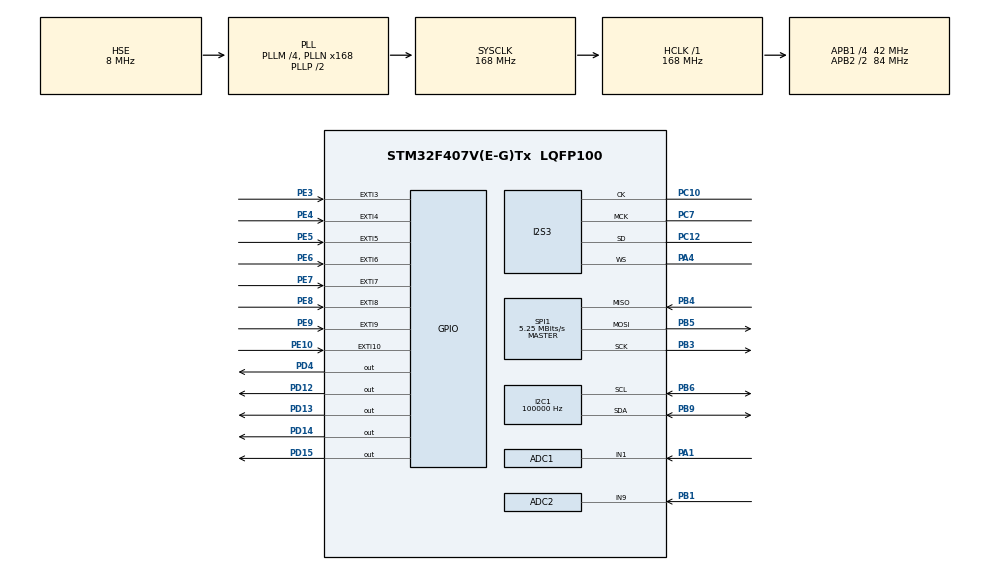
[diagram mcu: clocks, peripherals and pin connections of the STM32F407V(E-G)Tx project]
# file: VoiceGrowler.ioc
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ADC1.Channel-1\#ChannelRegularConversion=ADC_CHANNEL_1
ADC1.ClockPrescaler=ADC_CLOCK_SYNC_PCLK_DIV8
ADC1.ContinuousConvMode=ENABLE
ADC1.DMAContinuousRequests=ENABLE
ADC1.ExternalTrigConv=ADC_SOFTWARE_START
ADC1.InjNumberOfConversion=0
ADC1.NbrOfConversion=1
ADC1.NbrOfConversionFlag=1
ADC1.Rank-1\#ChannelRegularConversion=1
ADC1.SamplingTime-1\#ChannelRegularConversion=ADC_SAMPLETIME_144CYCLES
ADC1.master=1
ADC2.Channel-1\#ChannelRegularConversion=ADC_CHANNEL_9
ADC2.ClockPrescaler=ADC_CLOCK_SYNC_PCLK_DIV8
ADC2.ContinuousConvMode=ENABLE
ADC2.NbrOfConversionFlag=1
ADC2.Rank-1\#ChannelRegularConversion=1
ADC2.SamplingTime-1\#ChannelRegularConversion=ADC_SAMPLETIME_112CYCLES
Dma.ADC1.1.Direction=DMA_PERIPH_TO_MEMORY
Dma.ADC1.1.FIFOMode=DMA_FIFOMODE_ENABLE
Dma.ADC1.1.FIFOThreshold=DMA_FIFO_THRESHOLD_FULL
Dma.ADC1.1.Instance=DMA2_Stream0
Dma.ADC1.1.MemBurst=DMA_MBURST_SINGLE
Dma.ADC1.1.MemDataAlignment=DMA_MDATAALIGN_HALFWORD
Dma.ADC1.1.MemInc=DMA_MINC_ENABLE
Dma.ADC1.1.Mode=DMA_NORMAL
Dma.ADC1.1.PeriphBurst=DMA_PBURST_SINGLE
Dma.ADC1.1.PeriphDataAlignment=DMA_PDATAALIGN_HALFWORD
Dma.ADC1.1.PeriphInc=DMA_PINC_DISABLE
Dma.ADC1.1.Priority=DMA_PRIORITY_LOW
Dma.Request0=SPI3_TX
Dma.Request1=ADC1
Dma.SPI3_TX.0.Direction=DMA_MEMORY_TO_PERIPH
Dma.SPI3_TX.0.FIFOMode=DMA_FIFOMODE_ENABLE
Dma.SPI3_TX.0.FIFOThreshold=DMA_FIFO_THRESHOLD_FULL
Dma.SPI3_TX.0.Instance=DMA1_Stream5
Dma.SPI3_TX.0.MemBurst=DMA_MBURST_SINGLE
Dma.SPI3_TX.0.MemDataAlignment=DMA_MDATAALIGN_HALFWORD
Dma.SPI3_TX.0.MemInc=DMA_MINC_ENABLE
Dma.SPI3_TX.0.Mode=DMA_CIRCULAR
Dma.SPI3_TX.0.PeriphBurst=DMA_PBURST_SINGLE
Dma.SPI3_TX.0.PeriphDataAlignment=DMA_PDATAALIGN_HALFWORD
Dma.SPI3_TX.0.PeriphInc=DMA_PINC_DISABLE
Dma.SPI3_TX.0.Priority=DMA_PRIORITY_LOW
I2C1.ClockSpeed=100000
I2S3.AudioFreq=I2S_AUDIOFREQ_48K
I2S3.AudioFreqCustom=72000
I2S3.DataFormat=I2S_DATAFORMAT_16B
I2S3.ErrorAudioFreq=-2.34 %
I2S3.FullDuplexMode=I2S_FULLDUPLEXMODE_DISABLE
I2S3.Instance=SPI$Index
I2S3.RealAudioFreq=46.875 KHz
I2S3.VirtualMode=I2S_MODE_MASTER
Mcu.Family=STM32F4
Mcu.Name=STM32F407V(E-G)Tx
Mcu.Package=LQFP100
NVIC.ADC_IRQn=true\:0\:0\:false\:false\:true\:true\:true
NVIC.DMA1_Stream5_IRQn=true\:0\:0\:false\:false\:true\:false\:true
NVIC.DMA2_Stream0_IRQn=true\:0\:0\:false\:false\:true\:false\:true
NVIC.EXTI15_10_IRQn=true\:0\:0\:false\:false\:true\:true\:true
NVIC.EXTI3_IRQn=true\:0\:0\:false\:false\:true\:true\:true
NVIC.EXTI4_IRQn=true\:0\:0\:false\:false\:true\:true\:true
NVIC.EXTI9_5_IRQn=true\:0\:0\:false\:false\:true\:true\:true
NVIC.PriorityGroup=NVIC_PRIORITYGROUP_4
NVIC.TIM2_IRQn=true\:0\:0\:false\:false\:true\:true\:true
NVIC.TIM3_IRQn=true\:0\:0\:false\:false\:true\:true\:true
NVIC.TIM6_DAC_IRQn=true\:0\:0\:false\:false\:true\:true\:true
PA1.Signal=ADCx_IN1
PA4.Mode=Half_Duplex_Master
PA4.Signal=I2S3_WS
PB1.Signal=ADCx_IN9
PB3.Mode=Full_Duplex_Master
PB3.Signal=SPI1_SCK
PB4.Mode=Full_Duplex_Master
PB4.Signal=SPI1_MISO
PB5.Mode=Full_Duplex_Master
PB5.Signal=SPI1_MOSI
PB6.Mode=I2C
PB6.Signal=I2C1_SCL
PB9.Mode=I2C
PB9.Signal=I2C1_SDA
PC10.Mode=Half_Duplex_Master
PC10.Signal=I2S3_CK
PC12.Mode=Half_Duplex_Master
PC12.Signal=I2S3_SD
PC7.Mode=Master_Clock_Activated
PC7.Signal=I2S3_MCK
PD12.Signal=GPIO_Output
PD13.Signal=GPIO_Output
PD14.Signal=GPIO_Output
PD15.Signal=GPIO_Output
PD4.Signal=GPIO_Output
PE10.GPIO_ModeDefaultEXTI=GPIO_MODE_IT_FALLING
PE10.GPIO_PuPd=GPIO_PULLUP
PE10.Signal=GPXTI10
PE3.GPIO_ModeDefaultEXTI=GPIO_MODE_IT_FALLING
PE3.GPIO_PuPd=GPIO_PULLUP
PE3.Signal=GPXTI3
PE4.GPIO_ModeDefaultEXTI=GPIO_MODE_IT_FALLING
PE4.GPIO_PuPd=GPIO_PULLUP
PE4.Signal=GPXTI4
PE5.GPIO_ModeDefaultEXTI=GPIO_MODE_IT_FALLING
PE5.GPIO_PuPd=GPIO_PULLUP
PE5.Signal=GPXTI5
PE6.GPIO_ModeDefaultEXTI=GPIO_MODE_IT_FALLING
PE6.GPIO_PuPd=GPIO_PULLUP
PE6.Signal=GPXTI6
PE7.GPIO_ModeDefaultEXTI=GPIO_MODE_IT_FALLING
PE7.GPIO_PuPd=GPIO_PULLUP
PE7.Signal=GPXTI7
PE8.GPIO_ModeDefaultEXTI=GPIO_MODE_IT_FALLING
PE8.GPIO_PuPd=GPIO_PULLUP
PE8.Signal=GPXTI8
PE9.GPIO_ModeDefaultEXTI=GPIO_MODE_IT_FALLING
PE9.GPIO_PuPd=GPIO_PULLUP
PE9.Signal=GPXTI9
PH0-OSC_IN.Mode=HSE-External-Oscillator
PH0-OSC_IN.Signal=RCC_OSC_IN
PH1-OSC_OUT.Mode=HSE-External-Oscillator
PH1-OSC_OUT.Signal=RCC_OSC_OUT
ProjectManager.HeapSize=0x200
ProjectManager.StackSize=0x400
ProjectManager.TargetToolchain=SW4STM32
RCC.48MHZClocksFreq_Value=84000000
RCC.AHBFreq_Value=168000000
RCC.APB1CLKDivider=RCC_HCLK_DIV4
RCC.APB1Freq_Value=42000000
RCC.APB1TimFreq_Value=84000000
RCC.APB2CLKDivider=RCC_HCLK_DIV2
RCC.APB2Freq_Value=84000000
RCC.APB2TimFreq_Value=168000000
RCC.CortexFreq_Value=168000000
RCC.HCLKFreq_Value=168000000
RCC.HSE_VALUE=8000000
RCC.HSI_VALUE=16000000
RCC.LSE_VALUE=32768
RCC.PLLM=4
RCC.PLLN=168
RCC.PLLSourceVirtual=RCC_PLLSOURCE_HSE
RCC.SYSCLKFreq_VALUE=168000000
RCC.SYSCLKSource=RCC_SYSCLKSOURCE_PLLCLK
RCC.VCOOutputFreq_Value=336000000
SH.ADCx_IN1.0=ADC1_IN1,IN1
SH.ADCx_IN9.0=ADC2_IN9,IN9
SPI1.BaudRatePrescaler=SPI_BAUDRATEPRESCALER_16
SPI1.CalculateBaudRate=5.25 MBits/s
SPI1.Direction=SPI_DIRECTION_2LINES
SPI1.Mode=SPI_MODE_MASTER
SPI1.VirtualType=VM_MASTER
TIM2.Period=59999
TIM2.Prescaler=139
TIM2.TIM_MasterOutputTrigger=TIM_TRGO_UPDATE
TIM3.Period=8399
TIM3.Prescaler=499
TIM6.Period=5109
TIM6.Prescaler=0
VP_TIM2_VS_ClockSourceINT.Mode=Internal
VP_TIM3_VS_ClockSourceINT.Mode=Internal
VP_TIM6_VS_ClockSourceINT.Mode=Enable_Timer
board=custom

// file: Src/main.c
/* USER CODE BEGIN Header */
/**
  ******************************************************************************
  * @file           : main.c
  * @brief          : Main program body
  ******************************************************************************
  ** This notice applies to any and all portions of this file
  * that are not between comment pairs USER CODE BEGIN and
  * USER CODE END. Other portions of this file, whether
  * inserted by the user or by software development tools
  * are owned by their respective copyright owners.
  *
  * COPYRIGHT(c) 2019 STMicroelectronics
  *
  * Redistribution and use in source and binary forms, with or without modification,
  * are permitted provided that the following conditions are met:
  *   1. Redistributions of source code must retain the above copyright notice,
  *      this list of conditions and the following disclaimer.
  *   2. Redistributions in binary form must reproduce the above copyright notice,
  *      this list of conditions and the following disclaimer in the documentation
  *      and/or other materials provided with the distribution.
  *   3. Neither the name of STMicroelectronics nor the names of its contributors
  *      may be used to endorse or promote products derived from this software
  *      without specific prior written permission.
  *
  * THIS SOFTWARE IS PROVIDED BY THE COPYRIGHT HOLDERS AND CONTRIBUTORS "AS IS"
  * AND ANY EXPRESS OR IMPLIED WARRANTIES, INCLUDING, BUT NOT LIMITED TO, THE
  * IMPLIED WARRANTIES OF MERCHANTABILITY AND FITNESS FOR A PARTICULAR PURPOSE ARE
  * DISCLAIMED. IN NO EVENT SHALL THE COPYRIGHT HOLDER OR CONTRIBUTORS BE LIABLE
  * FOR ANY DIRECT, INDIRECT, INCIDENTAL, SPECIAL, EXEMPLARY, OR CONSEQUENTIAL
  * DAMAGES (INCLUDING, BUT NOT LIMITED TO, PROCUREMENT OF SUBSTITUTE GOODS OR
  * SERVICES; LOSS OF USE, DATA, OR PROFITS; OR BUSINESS INTERRUPTION) HOWEVER
  * CAUSED AND ON ANY THEORY OF LIABILITY, WHETHER IN CONTRACT, STRICT LIABILITY,
  * OR TORT (INCLUDING NEGLIGENCE OR OTHERWISE) ARISING IN ANY WAY OUT OF THE USE
  * OF THIS SOFTWARE, EVEN IF ADVISED OF THE POSSIBILITY OF SUCH DAMAGE.
  *
  ******************************************************************************
  */
/* USER CODE END Header */

#include "main.h"

/* USER CODE BEGIN Includes */
#include "MY_CS43L22.h"
#include <math.h>
#include <string.h>
#include "ff.h"
#include "stm32f4xx.h"
#include "fft.h"
/* USER CODE END Includes */

/* USER CODE BEGIN PD */
#define SAMPLE 1
#define SDSIZE 1
#define FFTBUFF 1000
/* USER CODE END PD */

ADC_HandleTypeDef hadc1;
ADC_HandleTypeDef hadc2;
DMA_HandleTypeDef hdma_adc1;

I2C_HandleTypeDef hi2c1;

I2S_HandleTypeDef hi2s3;
DMA_HandleTypeDef hdma_spi3_tx;

SPI_HandleTypeDef hspi1;

TIM_HandleTypeDef htim2;
TIM_HandleTypeDef htim3;
TIM_HandleTypeDef htim6;

/* USER CODE BEGIN PV */
int transmit_adc = 1;
int transmit_i2s = 1;
int buffer = 1;
uint32_t data1[SAMPLE];
uint32_t EchoData[15000];
uint32_t ChildvoiceData[3000] = {0};
double ChildvoiceDataFFTIn[3000] = {0};
int ChildvoiceTmp = 0;
uint16_t Speedy[1000] = {0};
uint16_t data_adc[1];
int EchoCounter = 0;
int ChildVoiceCounter = 0;
int Effect_Echo = 0;
int Effect_Overdrive = 0;
int Effect_Childvoice = 0;
int Effect_CBA = 0;
double FFT_Val = 0;
double in[2000] = {0};
double volume;
double old_volume;
uint16_t dataSAMPLE = 0;
//End Defined for CS43L22 ----------------------------------------
//SD CARD VARS
uint8_t SDbuffer[SDSIZE];//bufor odczytu i zapisu
uint16_t tempbuff[SDSIZE];
static FATFS FatFs;//uchwyt do urz¹dzenia FatFs (dysku, karty SD...)
FRESULT fresult;//do przechowywania wyniku operacji na bibliotece FatFs
FIL file;//uchwyt do otwartego pliku
WORD bytes_read;//liczba odczytanych byte
volatile int startstop=0;
/* USER CODE END PV */

void SystemClock_Config(void);
static void MX_GPIO_Init(void);
static void MX_DMA_Init(void);
static void MX_I2C1_Init(void);
static void MX_I2S3_Init(void);
static void MX_TIM2_Init(void);
static void MX_TIM3_Init(void);
static void MX_ADC1_Init(void);
static void MX_SPI1_Init(void);
static void MX_TIM6_Init(void);
static void MX_ADC2_Init(void);
/* USER CODE BEGIN PFP */
void resetAudio(){
    HAL_GPIO_WritePin(GPIOD, GPIO_PIN_12, 0);
    HAL_GPIO_WritePin(GPIOD, GPIO_PIN_13, 0);
    HAL_GPIO_WritePin(GPIOD, GPIO_PIN_14, 0);
    HAL_GPIO_WritePin(GPIOD, GPIO_PIN_15, 0);

    Effect_Echo = 0;
    Effect_Overdrive = 0;
    Effect_Childvoice = 0;
    Effect_CBA = 0;
    HAL_I2S_DeInit(&hi2s3);
    hi2s3.Init.AudioFreq = I2S_AUDIOFREQ_48K;
    HAL_I2S_Init(&hi2s3);
}

void EchoRelay(uint16_t *dataADC){
    if (EchoCounter < 5000) {
        EchoData[EchoCounter] = dataADC[0];
    } else if (EchoCounter < 10000) {
        dataADC[0] += EchoData[EchoCounter - 5000] / 2;
        EchoData[EchoCounter] = dataADC[0];
    } else if (EchoCounter <= 14999) {
        dataADC[0] += EchoData[EchoCounter - 5000] / 2;
        EchoData[EchoCounter-10000] = dataADC[0];
    }

    dataADC[0] = dataADC[0]/2;

    if (EchoCounter >= 14999){
        EchoCounter = 5000;
    } else {
        EchoCounter++;
    }
}

void Overdrive(uint16_t *dataADC){
	if( dataADC[0]>2250) dataADC[0]=2250;
	else if( dataADC[0]<500)  dataADC[0]=500;
}

void Childvoice(uint16_t *dataADC){
    ChildvoiceDataFFTIn[ChildVoiceCounter] = dataADC[0];

    Fft_transform(ChildvoiceDataFFTIn, 0, 3000);

    FFT_Val = ChildvoiceDataFFTIn[ChildVoiceCounter];
    for(int a = 2000; a < 2999 ; a++){
            ChildvoiceDataFFTIn[a] *= 0;
    }

    Fft_inverseTransform(0,ChildvoiceDataFFTIn, 3000);

    dataADC[0] = ChildvoiceDataFFTIn[ChildVoiceCounter];

    ChildVoiceCounter++;
    if(ChildVoiceCounter >= 3000) ChildVoiceCounter = 0;
}

// FFT Future Effect Function
void CriminalVoice(uint16_t *dataADC){
//    if(ChildvoiceTmp == 0) ChildvoiceData[0] = dataADC[0];
//
//    ChildvoiceTmp++;
//    if(ChildvoiceTmp >= 8) {
//        ChildvoiceTmp = 0;
//    }
//
//    dataADC[0] = ChildvoiceData[0];
}

void HAL_I2S_TxCpltCallback(I2S_HandleTypeDef *hi2s)
{
    transmit_i2s = 1; //useless
}

void HAL_ADC_ConvCpltCallback(ADC_HandleTypeDef* hadc) {

    HAL_ADC_Stop_DMA(&hadc1);
    data_adc[0] = data1[0];
    if(Effect_Echo == 1) EchoRelay(data_adc);
    if(Effect_Overdrive == 1) Overdrive(data_adc);

    dataSAMPLE = data_adc[0];
    //data_adc[0] *=3; // Volume Regulation for Echo and Overdrive

    if(Effect_Childvoice == 1 || Effect_CBA == 1){
        HAL_I2S_Transmit_DMA(&hi2s3, Speedy, 1000);
        HAL_ADC_Start_DMA(&hadc1, Speedy, 1000);
    } else {
        HAL_I2S_Transmit_DMA(&hi2s3, data_adc, SAMPLE);
        HAL_ADC_Start_DMA(&hadc1, data1, SAMPLE);
    }
}

void HAL_TIM_PeriodElapsedCallback(TIM_HandleTypeDef *htim)
{
    if (htim->Instance == TIM2)
    {
        if (HAL_ADC_PollForConversion(&hadc2, 10) == HAL_OK) {
            volume = HAL_ADC_GetValue(&hadc2);
            volume = volume/4095;
            if(volume < 0.009) volume = 0;
            CS43_SetVolume(90*volume);
        }
        HAL_ADC_Start(&hadc2);
    }
    if (htim->Instance == TIM3)
    {
        if(HAL_GPIO_ReadPin(GPIOE,GPIO_PIN_3) == GPIO_PIN_RESET) {
            HAL_GPIO_TogglePin(GPIOD, GPIO_PIN_12);
            if(Effect_Echo == 0) {
                resetAudio();
                Effect_Echo = 1;
            }
            else Effect_Echo = 0;
        }
        if(HAL_GPIO_ReadPin(GPIOE,GPIO_PIN_4) == GPIO_PIN_RESET) {
            HAL_GPIO_TogglePin(GPIOD, GPIO_PIN_13);
            if(Effect_Overdrive == 0) {
                resetAudio();
                Effect_Overdrive = 1;
            }
            else Effect_Overdrive = 0;
        }
        if(HAL_GPIO_ReadPin(GPIOE,GPIO_PIN_5) == GPIO_PIN_RESET) {
            HAL_GPIO_TogglePin(GPIOD, GPIO_PIN_14);
            if(Effect_Childvoice == 0) {
                resetAudio();
                Effect_Childvoice = 1;
            }
            else Effect_Childvoice = 0;

            HAL_ADC_Stop_DMA(&hadc1);
            HAL_I2S_DMAStop(&hi2s3);
            HAL_ADC_Start_DMA(&hadc1, Speedy, 1000);
        }
        if(HAL_GPIO_ReadPin(GPIOE,GPIO_PIN_6) == GPIO_PIN_RESET) {
            HAL_GPIO_TogglePin(GPIOD, GPIO_PIN_15);

            if(Effect_CBA == 0) {
                resetAudio();
                Effect_CBA = 1;
                HAL_I2S_DeInit(&hi2s3);
                hi2s3.Init.AudioFreq = I2S_AUDIOFREQ_22K;
                HAL_I2S_Init(&hi2s3);
            }
            else {
                Effect_CBA = 0;
                HAL_I2S_DeInit(&hi2s3);
                hi2s3.Init.AudioFreq = I2S_AUDIOFREQ_48K;
                HAL_I2S_Init(&hi2s3);
            }
            HAL_ADC_Stop_DMA(&hadc1);
            HAL_I2S_DMAStop(&hi2s3);
            HAL_ADC_Start_DMA(&hadc1, Speedy, 1000);
        }
        if(HAL_GPIO_ReadPin(GPIOE,GPIO_PIN_7) == GPIO_PIN_RESET) {
        	if(startstop==0){
        		HAL_ADC_Stop_DMA(&hadc1);
        		HAL_I2S_DMAStop(&hi2s3);
        		HAL_I2S_DeInit(&hi2s3);
        		hi2s3.Init.AudioFreq = I2S_AUDIOFREQ_16K;
        		HAL_StatusTypeDef result = HAL_I2S_Init(&hi2s3);
        		fresult = f_open(&file, "isengard.wav", 1);
        		f_lseek(&file, 44);
        		HAL_TIM_Base_Start_IT(&htim6);
        	}
        	else {
        		HAL_TIM_Base_Stop_IT(&htim6);
        		HAL_I2S_DeInit(&hi2s3);
        		hi2s3.Init.AudioFreq = I2S_AUDIOFREQ_48K;
        		HAL_StatusTypeDef result = HAL_I2S_Init(&hi2s3);
        		fresult = f_close(&file);
        		HAL_ADC_Start_IT(&hadc1);
        		HAL_ADC_Start_DMA(&hadc1, data1, SAMPLE);
        		startstop=0;
        	}

        }
        if(HAL_GPIO_ReadPin(GPIOE,GPIO_PIN_8) == GPIO_PIN_RESET) {
        	if(startstop==0){
        		HAL_ADC_Stop_DMA(&hadc1);
        		HAL_I2S_DMAStop(&hi2s3);
        		HAL_I2S_DeInit(&hi2s3);
        		hi2s3.Init.AudioFreq = I2S_AUDIOFREQ_16K;
        		HAL_StatusTypeDef result = HAL_I2S_Init(&hi2s3);
        		fresult = f_open(&file, "laserap.wav", 1);
        		f_lseek(&file, 44);
        		HAL_TIM_Base_Start_IT(&htim6);
        	}
        	else {
        		HAL_TIM_Base_Stop_IT(&htim6);
        		HAL_I2S_DeInit(&hi2s3);
        		hi2s3.Init.AudioFreq = I2S_AUDIOFREQ_48K;
        		HAL_StatusTypeDef result = HAL_I2S_Init(&hi2s3);
        		fresult = f_close(&file);
        		HAL_ADC_Start_IT(&hadc1);
        		HAL_ADC_Start_DMA(&hadc1, data1, SAMPLE);
        		startstop=0;
        	}
        }
        if(HAL_GPIO_ReadPin(GPIOE,GPIO_PIN_9) == GPIO_PIN_RESET) {
        	if(startstop==0){
        		HAL_ADC_Stop_DMA(&hadc1);
        		HAL_I2S_DMAStop(&hi2s3);
        		HAL_I2S_DeInit(&hi2s3);
        		hi2s3.Init.AudioFreq = I2S_AUDIOFREQ_16K;
        		HAL_StatusTypeDef result = HAL_I2S_Init(&hi2s3);
        		fresult = f_open(&file, "snoop.wav", 1);
        		f_lseek(&file, 44);
        		HAL_TIM_Base_Start_IT(&htim6);
        	}
        	else {
        		HAL_TIM_Base_Stop_IT(&htim6);
        		HAL_I2S_DeInit(&hi2s3);
        		hi2s3.Init.AudioFreq = I2S_AUDIOFREQ_48K;
        		HAL_StatusTypeDef result = HAL_I2S_Init(&hi2s3);
        		fresult = f_close(&file);
        		HAL_ADC_Start_IT(&hadc1);
        		HAL_ADC_Start_DMA(&hadc1, data1, SAMPLE);
        		startstop=0;
        	}
        }
        if(HAL_GPIO_ReadPin(GPIOE,GPIO_PIN_10) == GPIO_PIN_RESET) {
        	if(startstop==0){
        		HAL_ADC_Stop_DMA(&hadc1);
        		HAL_I2S_DMAStop(&hi2s3);
        		HAL_I2S_DeInit(&hi2s3);
        		hi2s3.Init.AudioFreq = I2S_AUDIOFREQ_16K;
        		HAL_StatusTypeDef result = HAL_I2S_Init(&hi2s3);
        		fresult = f_open(&file, "star.wav", 1);
        		f_lseek(&file, 44);
        		HAL_TIM_Base_Start_IT(&htim6);
        	}
        	else {
        		HAL_TIM_Base_Stop_IT(&htim6);
        		HAL_I2S_DeInit(&hi2s3);
        		hi2s3.Init.AudioFreq = I2S_AUDIOFREQ_48K;
        		HAL_StatusTypeDef result = HAL_I2S_Init(&hi2s3);
        		fresult = f_close(&file);
        		HAL_ADC_Start_IT(&hadc1);
        		HAL_ADC_Start_DMA(&hadc1, data1, SAMPLE);
        		startstop=0;
        	}
        }
        HAL_TIM_Base_Stop_IT(&htim3);
    }
    if (htim->Instance == TIM6){
    	startstop=1;
    	fresult = f_read(&file, SDbuffer, SDSIZE, &bytes_read);
    	tempbuff[0]=SDbuffer[0]*128;
    	HAL_I2S_Transmit_DMA(&hi2s3, (uint16_t *)tempbuff, SDSIZE);
    	if(f_eof(&file)){
    		HAL_TIM_Base_Stop_IT(&htim6);
    		HAL_I2S_DeInit(&hi2s3);
    		hi2s3.Init.AudioFreq = I2S_AUDIOFREQ_48K;
    		HAL_StatusTypeDef result = HAL_I2S_Init(&hi2s3);
    		fresult = f_close(&file);
    		HAL_ADC_Start_IT(&hadc1);
    		HAL_ADC_Start_DMA(&hadc1, data1, SAMPLE);
    		startstop=0;
    	}
    }
}

void HAL_GPIO_EXTI_Callback(uint16_t GPIO_PIN)
{
    HAL_TIM_Base_Start_IT(&htim3);
}
/* USER CODE END PFP */

int main(void)
{

  /* MCU Configuration--------------------------------------------------------*/

  /* Reset of all peripherals, Initializes the Flash interface and the Systick. */
  HAL_Init();

  /* Configure the system clock */
  SystemClock_Config();

  /* Initialize all configured peripherals */
  MX_GPIO_Init();
  MX_DMA_Init();
  MX_I2C1_Init();
  MX_I2S3_Init();
  MX_TIM2_Init();
  MX_TIM3_Init();
  MX_ADC1_Init();
  MX_SPI1_Init();
  MX_TIM6_Init();
  MX_ADC2_Init();
  /* USER CODE BEGIN 2 */
  CS43_Init(hi2c1, MODE_I2S); //MODE_ANALOG
  CS43_SetVolume(80); //0 - 100,, 40 - MAX bo inaczej zjada za duzo pradu
  CS43_Enable_RightLeft(CS43_RIGHT_LEFT);
  CS43_Start();
  HAL_ADC_Start_IT(&hadc1);
  HAL_ADC_Start(&hadc2);
  HAL_TIM_Base_Start_IT(&htim2);
  htim2.Instance->ARR = 139 ;
  htim2.Instance->PSC = 59999;
  HAL_ADC_Start_IT(&hadc1);

  //ADC to DMA
  HAL_ADC_Start_DMA(&hadc1, data1, SAMPLE);
  //SD Init
  fresult = f_mount(&FatFs, "",1);

  /* USER CODE END 2 */

  /* Infinite loop */
  while (1)
  {

  }
}

void SystemClock_Config(void)
{
  RCC_OscInitTypeDef RCC_OscInitStruct = {0};
  RCC_ClkInitTypeDef RCC_ClkInitStruct = {0};
  RCC_PeriphCLKInitTypeDef PeriphClkInitStruct = {0};

  /** Configure the main internal regulator output voltage
  */
  __HAL_RCC_PWR_CLK_ENABLE();
  __HAL_PWR_VOLTAGESCALING_CONFIG(PWR_REGULATOR_VOLTAGE_SCALE1);
  /** Initializes the CPU, AHB and APB busses clocks
  */
  RCC_OscInitStruct.OscillatorType = RCC_OSCILLATORTYPE_HSE;
  RCC_OscInitStruct.HSEState = RCC_HSE_ON;
  RCC_OscInitStruct.PLL.PLLState = RCC_PLL_ON;
  RCC_OscInitStruct.PLL.PLLSource = RCC_PLLSOURCE_HSE;
  RCC_OscInitStruct.PLL.PLLM = 4;
  RCC_OscInitStruct.PLL.PLLN = 168;
  RCC_OscInitStruct.PLL.PLLP = RCC_PLLP_DIV2;
  RCC_OscInitStruct.PLL.PLLQ = 4;
  if (HAL_RCC_OscConfig(&RCC_OscInitStruct) != HAL_OK)
  {
    Error_Handler();
  }
  /** Initializes the CPU, AHB and APB busses clocks
  */
  RCC_ClkInitStruct.ClockType = RCC_CLOCKTYPE_HCLK|RCC_CLOCKTYPE_SYSCLK
                              |RCC_CLOCKTYPE_PCLK1|RCC_CLOCKTYPE_PCLK2;
  RCC_ClkInitStruct.SYSCLKSource = RCC_SYSCLKSOURCE_PLLCLK;
  RCC_ClkInitStruct.AHBCLKDivider = RCC_SYSCLK_DIV1;
  RCC_ClkInitStruct.APB1CLKDivider = RCC_HCLK_DIV4;
  RCC_ClkInitStruct.APB2CLKDivider = RCC_HCLK_DIV2;

  if (HAL_RCC_ClockConfig(&RCC_ClkInitStruct, FLASH_LATENCY_5) != HAL_OK)
  {
    Error_Handler();
  }
  PeriphClkInitStruct.PeriphClockSelection = RCC_PERIPHCLK_I2S;
  PeriphClkInitStruct.PLLI2S.PLLI2SN = 192;
  PeriphClkInitStruct.PLLI2S.PLLI2SR = 2;
  if (HAL_RCCEx_PeriphCLKConfig(&PeriphClkInitStruct) != HAL_OK)
  {
    Error_Handler();
  }
}

static void MX_ADC1_Init(void)
{

  ADC_ChannelConfTypeDef sConfig = {0};

  /** Configure the global features of the ADC (Clock, Resolution, Data Alignment and number of conversion)
  */
  hadc1.Instance = ADC1;
  hadc1.Init.ClockPrescaler = ADC_CLOCK_SYNC_PCLK_DIV8;
  hadc1.Init.Resolution = ADC_RESOLUTION_12B;
  hadc1.Init.ScanConvMode = DISABLE;
  hadc1.Init.ContinuousConvMode = ENABLE;
  hadc1.Init.DiscontinuousConvMode = DISABLE;
  hadc1.Init.ExternalTrigConvEdge = ADC_EXTERNALTRIGCONVEDGE_NONE;
  hadc1.Init.ExternalTrigConv = ADC_SOFTWARE_START;
  hadc1.Init.DataAlign = ADC_DATAALIGN_RIGHT;
  hadc1.Init.NbrOfConversion = 1;
  hadc1.Init.DMAContinuousRequests = ENABLE;
  hadc1.Init.EOCSelection = ADC_EOC_SINGLE_CONV;
  if (HAL_ADC_Init(&hadc1) != HAL_OK)
  {
    Error_Handler();
  }
  /** Configure for the selected ADC regular channel its corresponding rank in the sequencer and its sample time.
  */
  sConfig.Channel = ADC_CHANNEL_1;
  sConfig.Rank = 1;
  sConfig.SamplingTime = ADC_SAMPLETIME_144CYCLES;
  if (HAL_ADC_ConfigChannel(&hadc1, &sConfig) != HAL_OK)
  {
    Error_Handler();
  }

}

static void MX_ADC2_Init(void)
{

  ADC_ChannelConfTypeDef sConfig = {0};

  /** Configure the global features of the ADC (Clock, Resolution, Data Alignment and number of conversion)
  */
  hadc2.Instance = ADC2;
  hadc2.Init.ClockPrescaler = ADC_CLOCK_SYNC_PCLK_DIV8;
  hadc2.Init.Resolution = ADC_RESOLUTION_12B;
  hadc2.Init.ScanConvMode = DISABLE;
  hadc2.Init.ContinuousConvMode = ENABLE;
  hadc2.Init.DiscontinuousConvMode = DISABLE;
  hadc2.Init.ExternalTrigConvEdge = ADC_EXTERNALTRIGCONVEDGE_NONE;
  hadc2.Init.ExternalTrigConv = ADC_SOFTWARE_START;
  hadc2.Init.DataAlign = ADC_DATAALIGN_RIGHT;
  hadc2.Init.NbrOfConversion = 1;
  hadc2.Init.DMAContinuousRequests = DISABLE;
  hadc2.Init.EOCSelection = ADC_EOC_SINGLE_CONV;
  if (HAL_ADC_Init(&hadc2) != HAL_OK)
  {
    Error_Handler();
  }
  /** Configure for the selected ADC regular channel its corresponding rank in the sequencer and its sample time.
  */
  sConfig.Channel = ADC_CHANNEL_9;
  sConfig.Rank = 1;
  sConfig.SamplingTime = ADC_SAMPLETIME_112CYCLES;
  if (HAL_ADC_ConfigChannel(&hadc2, &sConfig) != HAL_OK)
  {
    Error_Handler();
  }

}

static void MX_I2C1_Init(void)
{

  hi2c1.Instance = I2C1;
  hi2c1.Init.ClockSpeed = 100000;
  hi2c1.Init.DutyCycle = I2C_DUTYCYCLE_2;
  hi2c1.Init.OwnAddress1 = 0;
  hi2c1.Init.AddressingMode = I2C_ADDRESSINGMODE_7BIT;
  hi2c1.Init.DualAddressMode = I2C_DUALADDRESS_DISABLE;
  hi2c1.Init.OwnAddress2 = 0;
  hi2c1.Init.GeneralCallMode = I2C_GENERALCALL_DISABLE;
  hi2c1.Init.NoStretchMode = I2C_NOSTRETCH_DISABLE;
  if (HAL_I2C_Init(&hi2c1) != HAL_OK)
  {
    Error_Handler();
  }

}

static void MX_I2S3_Init(void)
{

  hi2s3.Instance = SPI3;
  hi2s3.Init.Mode = I2S_MODE_MASTER_TX;
  hi2s3.Init.Standard = I2S_STANDARD_PHILIPS;
  hi2s3.Init.DataFormat = I2S_DATAFORMAT_16B;
  hi2s3.Init.MCLKOutput = I2S_MCLKOUTPUT_ENABLE;
  hi2s3.Init.AudioFreq = I2S_AUDIOFREQ_48K;
  hi2s3.Init.CPOL = I2S_CPOL_LOW;
  hi2s3.Init.ClockSource = I2S_CLOCK_PLL;
  hi2s3.Init.FullDuplexMode = I2S_FULLDUPLEXMODE_DISABLE;
  if (HAL_I2S_Init(&hi2s3) != HAL_OK)
  {
    Error_Handler();
  }

}

static void MX_SPI1_Init(void)
{

  /* SPI1 parameter configuration*/
  hspi1.Instance = SPI1;
  hspi1.Init.Mode = SPI_MODE_MASTER;
  hspi1.Init.Direction = SPI_DIRECTION_2LINES;
  hspi1.Init.DataSize = SPI_DATASIZE_8BIT;
  hspi1.Init.CLKPolarity = SPI_POLARITY_LOW;
  hspi1.Init.CLKPhase = SPI_PHASE_1EDGE;
  hspi1.Init.NSS = SPI_NSS_SOFT;
  hspi1.Init.BaudRatePrescaler = SPI_BAUDRATEPRESCALER_16;
  hspi1.Init.FirstBit = SPI_FIRSTBIT_MSB;
  hspi1.Init.TIMode = SPI_TIMODE_DISABLE;
  hspi1.Init.CRCCalculation = SPI_CRCCALCULATION_DISABLE;
  hspi1.Init.CRCPolynomial = 10;
  if (HAL_SPI_Init(&hspi1) != HAL_OK)
  {
    Error_Handler();
  }

}

static void MX_TIM2_Init(void)
{

  TIM_ClockConfigTypeDef sClockSourceConfig = {0};
  TIM_MasterConfigTypeDef sMasterConfig = {0};

  htim2.Instance = TIM2;
  htim2.Init.Prescaler = 139;
  htim2.Init.CounterMode = TIM_COUNTERMODE_UP;
  htim2.Init.Period = 59999;
  htim2.Init.ClockDivision = TIM_CLOCKDIVISION_DIV1;
  htim2.Init.AutoReloadPreload = TIM_AUTORELOAD_PRELOAD_DISABLE;
  if (HAL_TIM_Base_Init(&htim2) != HAL_OK)
  {
    Error_Handler();
  }
  sClockSourceConfig.ClockSource = TIM_CLOCKSOURCE_INTERNAL;
  if (HAL_TIM_ConfigClockSource(&htim2, &sClockSourceConfig) != HAL_OK)
  {
    Error_Handler();
  }
  sMasterConfig.MasterOutputTrigger = TIM_TRGO_UPDATE;
  sMasterConfig.MasterSlaveMode = TIM_MASTERSLAVEMODE_DISABLE;
  if (HAL_TIMEx_MasterConfigSynchronization(&htim2, &sMasterConfig) != HAL_OK)
  {
    Error_Handler();
  }

}

static void MX_TIM3_Init(void)
{

  TIM_ClockConfigTypeDef sClockSourceConfig = {0};
  TIM_MasterConfigTypeDef sMasterConfig = {0};

  htim3.Instance = TIM3;
  htim3.Init.Prescaler = 499;
  htim3.Init.CounterMode = TIM_COUNTERMODE_UP;
  htim3.Init.Period = 8399;
  htim3.Init.ClockDivision = TIM_CLOCKDIVISION_DIV1;
  htim3.Init.AutoReloadPreload = TIM_AUTORELOAD_PRELOAD_DISABLE;
  if (HAL_TIM_Base_Init(&htim3) != HAL_OK)
  {
    Error_Handler();
  }
  sClockSourceConfig.ClockSource = TIM_CLOCKSOURCE_INTERNAL;
  if (HAL_TIM_ConfigClockSource(&htim3, &sClockSourceConfig) != HAL_OK)
  {
    Error_Handler();
  }
  sMasterConfig.MasterOutputTrigger = TIM_TRGO_RESET;
  sMasterConfig.MasterSlaveMode = TIM_MASTERSLAVEMODE_DISABLE;
  if (HAL_TIMEx_MasterConfigSynchronization(&htim3, &sMasterConfig) != HAL_OK)
  {
    Error_Handler();
  }

}

static void MX_TIM6_Init(void)
{

  TIM_MasterConfigTypeDef sMasterConfig = {0};

  htim6.Instance = TIM6;
  htim6.Init.Prescaler = 0;
  htim6.Init.CounterMode = TIM_COUNTERMODE_UP;
  htim6.Init.Period = 5109;
  htim6.Init.AutoReloadPreload = TIM_AUTORELOAD_PRELOAD_DISABLE;
  if (HAL_TIM_Base_Init(&htim6) != HAL_OK)
  {
    Error_Handler();
  }
  sMasterConfig.MasterOutputTrigger = TIM_TRGO_RESET;
  sMasterConfig.MasterSlaveMode = TIM_MASTERSLAVEMODE_DISABLE;
  if (HAL_TIMEx_MasterConfigSynchronization(&htim6, &sMasterConfig) != HAL_OK)
  {
    Error_Handler();
  }

}

static void MX_DMA_Init(void)
{
  /* DMA controller clock enable */
  __HAL_RCC_DMA1_CLK_ENABLE();
  __HAL_RCC_DMA2_CLK_ENABLE();

  /* DMA interrupt init */
  /* DMA1_Stream5_IRQn interrupt configuration */
  HAL_NVIC_SetPriority(DMA1_Stream5_IRQn, 0, 0);
  HAL_NVIC_EnableIRQ(DMA1_Stream5_IRQn);
  /* DMA2_Stream0_IRQn interrupt configuration */
  HAL_NVIC_SetPriority(DMA2_Stream0_IRQn, 0, 0);
  HAL_NVIC_EnableIRQ(DMA2_Stream0_IRQn);

}

static void MX_GPIO_Init(void)
{
  GPIO_InitTypeDef GPIO_InitStruct = {0};

  /* GPIO Ports Clock Enable */
  __HAL_RCC_GPIOE_CLK_ENABLE();
  __HAL_RCC_GPIOH_CLK_ENABLE();
  __HAL_RCC_GPIOA_CLK_ENABLE();
  __HAL_RCC_GPIOB_CLK_ENABLE();
  __HAL_RCC_GPIOD_CLK_ENABLE();
  __HAL_RCC_GPIOC_CLK_ENABLE();

  /*Configure GPIO pin Output Level */
  HAL_GPIO_WritePin(GPIOD, GPIO_PIN_12|GPIO_PIN_13|GPIO_PIN_14|GPIO_PIN_15
                          |GPIO_PIN_4, GPIO_PIN_RESET);

  /*Configure GPIO pins : PE3 PE4 PE5 PE6
                           PE7 PE8 PE9 PE10 */
  GPIO_InitStruct.Pin = GPIO_PIN_3|GPIO_PIN_4|GPIO_PIN_5|GPIO_PIN_6
                          |GPIO_PIN_7|GPIO_PIN_8|GPIO_PIN_9|GPIO_PIN_10;
  GPIO_InitStruct.Mode = GPIO_MODE_IT_FALLING;
  GPIO_InitStruct.Pull = GPIO_PULLUP;
  HAL_GPIO_Init(GPIOE, &GPIO_InitStruct);

  /*Configure GPIO pins : PD12 PD13 PD14 PD15
                           PD4 */
  GPIO_InitStruct.Pin = GPIO_PIN_12|GPIO_PIN_13|GPIO_PIN_14|GPIO_PIN_15
                          |GPIO_PIN_4;
  GPIO_InitStruct.Mode = GPIO_MODE_OUTPUT_PP;
  GPIO_InitStruct.Pull = GPIO_NOPULL;
  GPIO_InitStruct.Speed = GPIO_SPEED_FREQ_LOW;
  HAL_GPIO_Init(GPIOD, &GPIO_InitStruct);

  /* EXTI interrupt init*/
  HAL_NVIC_SetPriority(EXTI3_IRQn, 0, 0);
  HAL_NVIC_EnableIRQ(EXTI3_IRQn);

  HAL_NVIC_SetPriority(EXTI4_IRQn, 0, 0);
  HAL_NVIC_EnableIRQ(EXTI4_IRQn);

  HAL_NVIC_SetPriority(EXTI9_5_IRQn, 0, 0);
  HAL_NVIC_EnableIRQ(EXTI9_5_IRQn);

  HAL_NVIC_SetPriority(EXTI15_10_IRQn, 0, 0);
  HAL_NVIC_EnableIRQ(EXTI15_10_IRQn);

}

void Error_Handler(void)
{
}

/************************ (C) COPYRIGHT STMicroelectronics *****END OF FILE****/
